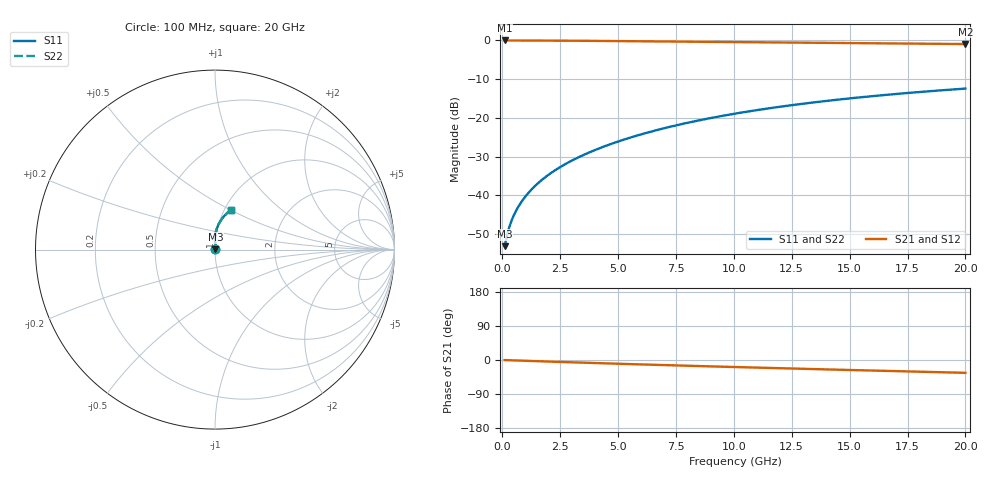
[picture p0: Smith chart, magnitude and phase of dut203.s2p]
! Touchstone file exported from HFSS 2024.1.0
!  File:  C:/UserFiles/LocalFiles/RDL_TSV_Batchsim/temp_RDL_bottom_203_1778699678.aedt
!  Generated:  03:16:56 AM May 14, 2026
!  Design:  RDL_bottom
!  Project:  temp_RDL_bottom_203_1778699678
!  Setup:  Setup1
!  Solution:  Sweep
! Variables:
!  dtsv = 10.80580581um
!  hbump = 3um
!  htsv = 69.24um
!  ldown = 549.68um
!  lrdl = 100um
!  p = 40
!  p1 = 41.66um
!  rhole = 1um
!  t = 450um
!  tdown = 4.58um
!  trdl = 3.915915916um
!  wdown = 25.27um
!  wrdl = 20um
# GHz S MA R 50.000000
! Terminal data exported
! Port[1] = RDL1_T1
! Port[2] = RDL1_T2
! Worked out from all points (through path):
!   200 points, 100 MHz to 20 GHz, reference 50 ohm
!   highest |S21| = -0.02 dB at 100 MHz (marker M1); lowest = -0.9 dB at 20 GHz (marker M2)
!   group delay of S21, straight-line fit = 4.64 ps
!   lowest |S11| = -53.1 dB at 100 MHz (marker M3), VSWR 1.00, Z = 50.2 + j0.115 ohm
!   |S11| at or under -10 dB: start of sweep to end of sweep
!   |S22| runs from -53.1 to -12.4 dB; largest |S21 - S12| = 2.2e-15
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0.1  0.002221 31.0  0.9981 -0.2  0.9981 -0.2  0.002221 31.0
! Gamma 0 0 0 0
! Port Impedance 50 0 50 0
0.2  0.003015 47.4  0.9979 -0.4  0.9979 -0.4  0.003015 47.4
0.3  0.003891 55.6  0.9977 -0.6  0.9977 -0.6  0.003891 55.6
0.4  0.004751 60.5  0.9975 -0.8  0.9975 -0.8  0.004752 60.5
0.5  0.005587 64.0  0.9973 -1.1  0.9973 -1.1  0.005589 64.1
0.6  0.006409 66.9  0.9972 -1.3  0.9972 -1.3  0.006412 66.9
0.8  0.008052 71.3  0.9969 -1.7  0.9969 -1.7  0.008055 71.3
1.1  0.01056 76.0  0.9964 -2.3  0.9964 -2.3  0.01057 76.0
1.3  0.01228 78.3  0.996 -2.7  0.996 -2.7  0.01229 78.3
1.6  0.01492 81.0  0.9952 -3.3  0.9952 -3.3  0.01493 81.0
2.1  0.01948 84.1  0.9938 -4.3  0.9938 -4.3  0.01948 84.1
2.7  0.02519 86.5  0.9916 -5.5  0.9916 -5.5  0.0252 86.5
3.5  0.03324 88.5  0.988 -7.1  0.988 -7.1  0.03325 88.6
4.2  0.04069 89.5  0.9845 -8.4  0.9845 -8.4  0.0407 89.5
5  0.04965 90.0  0.9801 -9.9  0.9801 -9.9  0.04966 90.1
6.8  0.0713 89.5  0.9696 -13.1  0.9696 -13.1  0.07133 89.6
8.4  0.09181 87.9  0.96 -15.9  0.96 -15.9  0.09185 87.9
10.1  0.1143 85.4  0.95 -18.7  0.95 -18.7  0.1143 85.4
11.7  0.1356 82.7  0.9409 -21.2  0.9409 -21.2  0.1356 82.8
13.4  0.158 79.7  0.9315 -23.9  0.9315 -23.9  0.1581 79.7
16.7  0.2 73.8  0.914 -29.0  0.914 -29.0  0.2001 73.8
20  0.2391 68.0  0.8972 -33.9  0.8972 -33.9  0.2393 68.0
